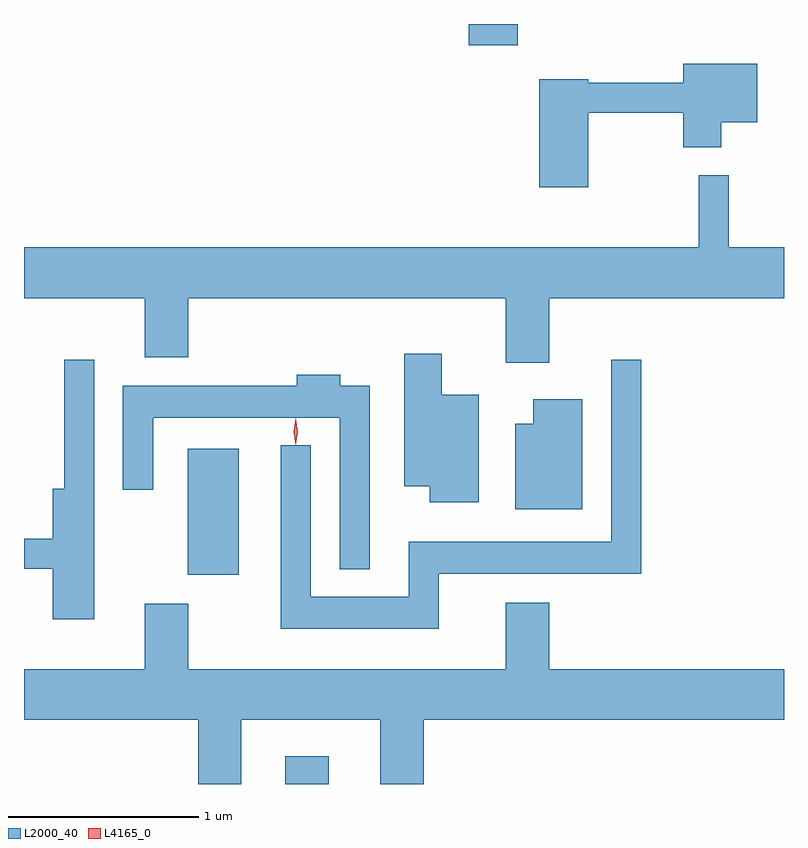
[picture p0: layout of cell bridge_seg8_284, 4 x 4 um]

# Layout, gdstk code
import gdstk
lib = gdstk.Library(unit=1e-6, precision=1e-09)
def R(c, l, rs):  # rectangles x0, y0, x1, y1
    for r in rs: c.add(gdstk.rectangle(r[:2], r[2:], *l))
def P(c, l, *ps):  # polygons
    for p in ps: c.add(gdstk.Polygon(p, *l))
L2000_40 = (2000, 40)
L4165_0 = (4165, 0)

bridge_seg8_284 = lib.new_cell('bridge_seg8_284')
R(bridge_seg8_284, L2000_40, [(1363.151,1807.219,1363.379,1807.364), (1362.636,1808.321,1362.904,1808.984), (1364.116,1811.106,1364.374,1811.219)])
P(bridge_seg8_284, L2000_40, [(1364.744,1810.751),(1365.246,1810.751),(1365.246,1810.571),(1365.444,1810.571),(1365.444,1810.701),(1365.634,1810.701),(1365.634,1811.009),(1365.246,1811.009),(1365.246,1810.909),(1364.744,1810.909),(1364.744,1810.929),(1364.486,1810.929),(1364.486,1810.361),(1364.744,1810.361)],
  [(1364.539,1809.776),(1365.775,1809.776),(1365.775,1810.044),(1365.484,1810.044),(1365.484,1810.423),(1365.326,1810.423),(1365.326,1810.044),(1361.775,1810.044),(1361.775,1809.776),(1362.411,1809.776),(1362.411,1809.466),(1362.639,1809.466),(1362.639,1809.776),(1364.311,1809.776),(1364.311,1809.436),(1364.539,1809.436)],
  [(1364.169,1809.269),(1363.974,1809.269),(1363.974,1809.484),(1363.776,1809.484),(1363.776,1808.786),(1363.911,1808.786),(1363.911,1808.701),(1364.169,1808.701)],
  [(1362.144,1809.453),(1361.986,1809.453),(1361.986,1808.774),(1361.926,1808.774),(1361.926,1808.509),(1361.775,1808.509),(1361.775,1808.351),(1361.926,1808.351),(1361.926,1808.086),(1362.144,1808.086)],
  [(1363.959,1808.326),(1365.024,1808.326),(1365.024,1809.453),(1364.866,1809.453),(1364.866,1808.494),(1363.801,1808.494),(1363.801,1808.204),(1363.284,1808.204),(1363.284,1809.003),(1363.126,1809.003),(1363.126,1808.036),(1363.959,1808.036)],
  [(1363.594,1809.314),(1363.439,1809.314),(1363.439,1809.374),(1363.211,1809.374),(1363.211,1809.314),(1362.296,1809.314),(1362.296,1808.768),(1362.454,1808.768),(1362.454,1809.146),(1363.436,1809.146),(1363.436,1808.348),(1363.594,1808.348)],
  [(1364.714,1809.244),(1364.456,1809.244),(1364.456,1809.114),(1364.361,1809.114),(1364.361,1808.666),(1364.714,1808.666)],
  [(1362.919,1807.556),(1363.651,1807.556),(1363.651,1807.219),(1363.879,1807.219),(1363.879,1807.556),(1365.775,1807.556),(1365.775,1807.824),(1364.539,1807.824),(1364.539,1808.174),(1364.311,1808.174),(1364.311,1807.824),(1362.639,1807.824),(1362.639,1808.169),(1362.411,1808.169),(1362.411,1807.824),(1361.775,1807.824),(1361.775,1807.556),(1362.691,1807.556),(1362.691,1807.219),(1362.919,1807.219)])
P(bridge_seg8_284, L4165_0, [(1363.204,1809.007),(1363.204,1809.007),(1363.194,1809.074),(1363.204,1809.14),(1363.204,1809.14),(1363.205,1809.14),(1363.214,1809.074),(1363.205,1809.007)],
  [(1363.205,1809.003),(1363.204,1809.004),(1363.195,1809.073),(1363.204,1809.142),(1363.205,1809.143),(1363.205,1809.142),(1363.215,1809.073),(1363.205,1809.004)])

lib.write_gds('bridge_seg8_284.gds')
